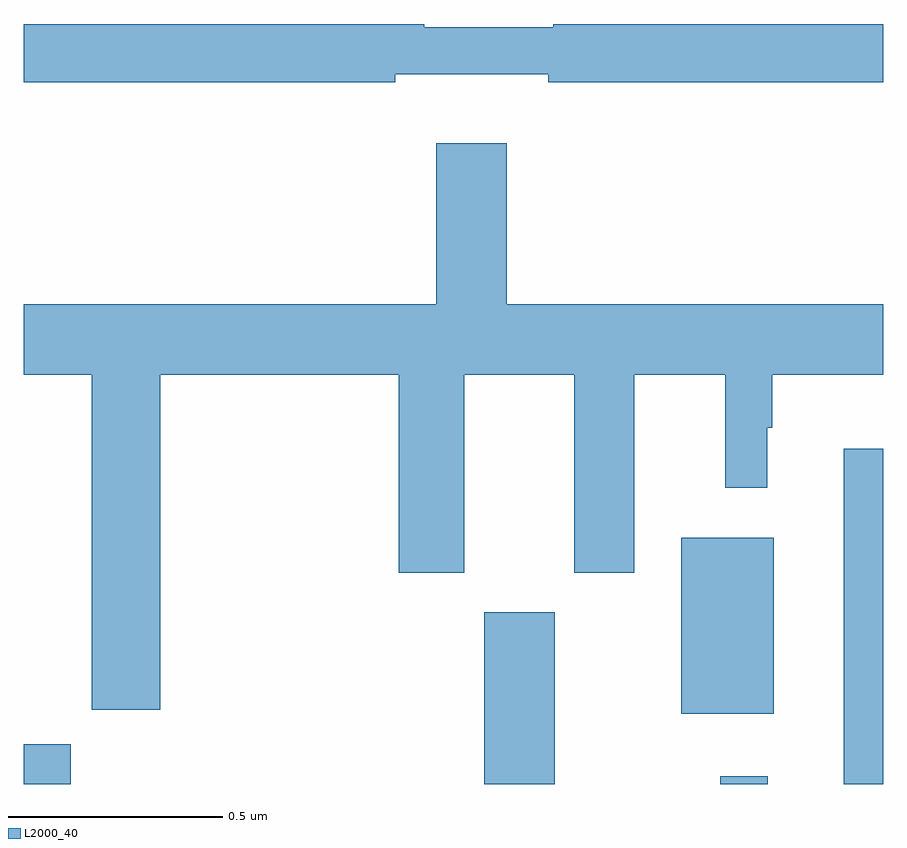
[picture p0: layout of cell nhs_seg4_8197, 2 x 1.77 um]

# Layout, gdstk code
import gdstk
lib = gdstk.Library(unit=1e-6, precision=1e-09)
def R(c, l, rs):  # rectangles x0, y0, x1, y1
    for r in rs: c.add(gdstk.rectangle(r[:2], r[2:], *l))
def P(c, l, *ps):  # polygons
    for p in ps: c.add(gdstk.Polygon(p, *l))
L2000_40 = (2000, 40)

nhs_seg4_8197 = lib.new_cell('nhs_seg4_8197')
R(nhs_seg4_8197, L2000_40, [(212,763.9,212.11,763.993), (213.071,763.9,213.235,764.299), (213.621,763.9,213.731,763.918), (213.908,763.9,214,764.68), (213.53,764.063,213.745,764.473)])
P(nhs_seg4_8197, L2000_40, [(212.864,765.551),(213.22,765.551),(213.22,765.532),(214,765.532),(214,765.668),(213.232,765.668),(213.232,765.661),(212.932,765.661),(212.932,765.668),(212,765.668),(212,765.532),(212.864,765.532)],
  [(212.318,764.852),(212.873,764.852),(212.873,764.391),(213.025,764.391),(213.025,764.852),(213.281,764.852),(213.281,764.391),(213.421,764.391),(213.421,764.852),(213.632,764.852),(213.632,764.589),(213.73,764.589),(213.73,764.729),(213.742,764.729),(213.742,764.852),(214,764.852),(214,765.016),(213.124,765.016),(213.124,765.391),(212.96,765.391),(212.96,765.016),(212,765.016),(212,764.852),(212.158,764.852),(212.158,764.073),(212.318,764.073)])

lib.write_gds('nhs_seg4_8197.gds')
